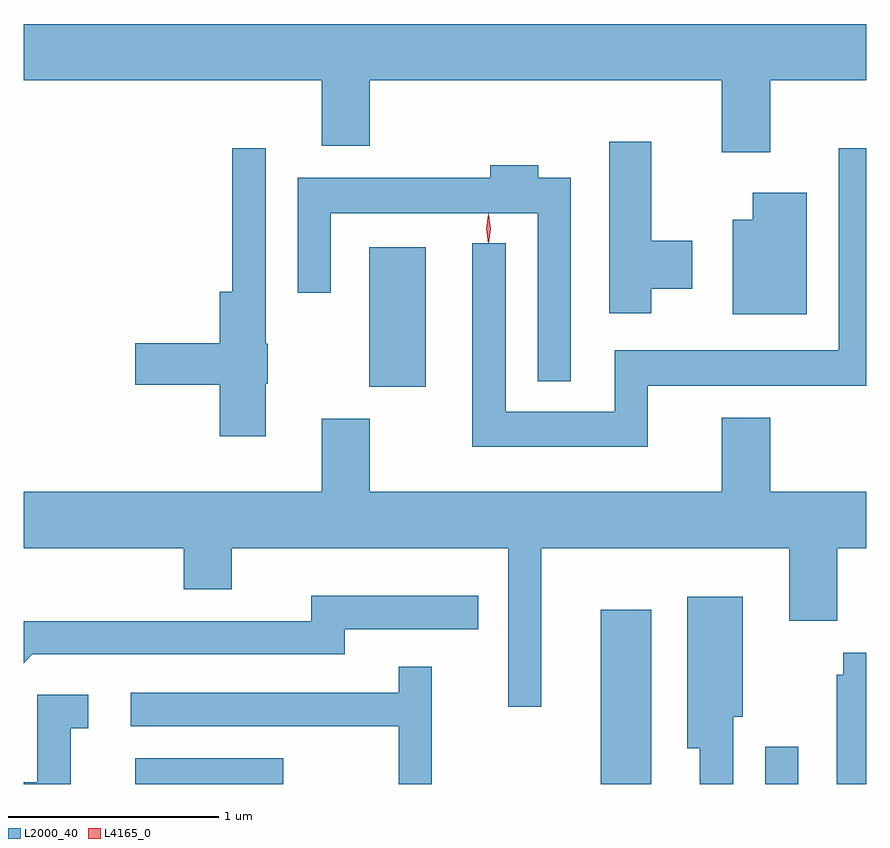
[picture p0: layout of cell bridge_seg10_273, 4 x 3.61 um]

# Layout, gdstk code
import gdstk
lib = gdstk.Library(unit=1e-6, precision=1e-09)
def R(c, l, rs):  # rectangles x0, y0, x1, y1
    for r in rs: c.add(gdstk.rectangle(r[:2], r[2:], *l))
def P(c, l, *ps):  # polygons
    for p in ps: c.add(gdstk.Polygon(p, *l))
L2000_40 = (2000, 40)
L4165_0 = (4165, 0)

bridge_seg10_273 = lib.new_cell('bridge_seg10_273')
R(bridge_seg10_273, L2000_40, [(1426.276,2201.596,1426.978,2201.719), (1428.486,2201.596,1428.724,2202.424), (1429.266,2201.596,1429.424,2201.773), (1427.386,2203.481,1427.654,2204.144)])
P(bridge_seg10_273, L2000_40, [(1429.289,2204.936),(1429.746,2204.936),(1429.746,2205.204),(1425.746,2205.204),(1425.746,2204.936),(1427.161,2204.936),(1427.161,2204.626),(1427.389,2204.626),(1427.389,2204.936),(1429.061,2204.936),(1429.061,2204.596),(1429.289,2204.596)],
  [(1428.724,2203.946),(1428.919,2203.946),(1428.919,2204.174),(1428.724,2204.174),(1428.724,2204.644),(1428.526,2204.644),(1428.526,2203.831),(1428.724,2203.831)],
  [(1426.894,2203.495),(1426.904,2203.495),(1426.904,2203.685),(1426.894,2203.685),(1426.894,2204.613),(1426.736,2204.613),(1426.736,2203.934),(1426.676,2203.934),(1426.676,2203.689),(1426.276,2203.689),(1426.276,2203.491),(1426.676,2203.491),(1426.676,2203.246),(1426.894,2203.246)],
  [(1428.709,2203.486),(1429.746,2203.486),(1429.746,2204.613),(1429.616,2204.613),(1429.616,2203.654),(1428.551,2203.654),(1428.551,2203.364),(1428.034,2203.364),(1428.034,2204.163),(1427.876,2204.163),(1427.876,2203.196),(1428.709,2203.196)],
  [(1428.344,2204.474),(1428.189,2204.474),(1428.189,2204.534),(1427.961,2204.534),(1427.961,2204.474),(1427.046,2204.474),(1427.046,2203.928),(1427.204,2203.928),(1427.204,2204.306),(1428.186,2204.306),(1428.186,2203.508),(1428.344,2203.508)],
  [(1429.464,2204.404),(1429.206,2204.404),(1429.206,2204.274),(1429.111,2204.274),(1429.111,2203.826),(1429.464,2203.826)],
  [(1428.204,2202.716),(1429.381,2202.716),(1429.381,2202.371),(1429.609,2202.371),(1429.609,2202.716),(1429.746,2202.716),(1429.746,2202.984),(1429.289,2202.984),(1429.289,2203.334),(1429.061,2203.334),(1429.061,2202.984),(1427.389,2202.984),(1427.389,2203.329),(1427.161,2203.329),(1427.161,2202.984),(1425.746,2202.984),(1425.746,2202.716),(1426.506,2202.716),(1426.506,2202.521),(1426.734,2202.521),(1426.734,2202.716),(1428.046,2202.716),(1428.046,2201.963),(1428.204,2201.963)],
  [(1425.787,2202.211),(1427.269,2202.211),(1427.269,2202.331),(1427.903,2202.331),(1427.903,2202.489),(1427.111,2202.489),(1427.111,2202.369),(1425.746,2202.369),(1425.746,2202.17)],
  [(1429.114,2201.916),(1429.159,2201.916),(1429.159,2202.484),(1428.896,2202.484),(1428.896,2201.766),(1428.956,2201.766),(1428.956,2201.596),(1429.114,2201.596)],
  [(1429.746,2202.219),(1429.636,2202.219),(1429.636,2202.114),(1429.606,2202.114),(1429.606,2201.596),(1429.746,2201.596)],
  [(1427.684,2202.153),(1427.526,2202.153),(1427.526,2202.029),(1426.253,2202.029),(1426.253,2201.871),(1427.526,2201.871),(1427.526,2201.596),(1427.684,2201.596)],
  [(1425.969,2201.861),(1426.053,2201.861),(1426.053,2202.019),(1425.811,2202.019),(1425.811,2201.604),(1425.746,2201.604),(1425.746,2201.596),(1425.969,2201.596)])
P(bridge_seg10_273, L4165_0, [(1427.952,2204.164),(1427.943,2204.233),(1427.952,2204.302),(1427.953,2204.303),(1427.953,2204.302),(1427.963,2204.233),(1427.953,2204.164),(1427.953,2204.164)])

lib.write_gds('bridge_seg10_273.gds')
